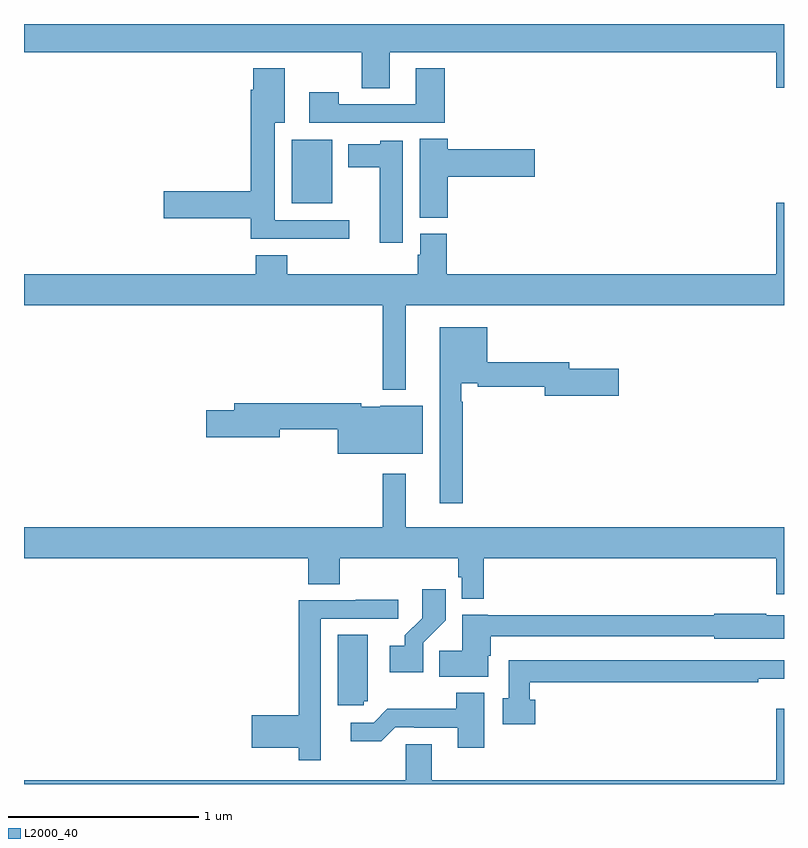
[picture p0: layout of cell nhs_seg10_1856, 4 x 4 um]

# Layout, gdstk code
import gdstk
lib = gdstk.Library(unit=1e-6, precision=1e-09)
def R(c, l, rs):  # rectangles x0, y0, x1, y1
    for r in rs: c.add(gdstk.rectangle(r[:2], r[2:], *l))
def P(c, l, *ps):  # polygons
    for p in ps: c.add(gdstk.Polygon(p, *l))
L2000_40 = (2000, 40)

nhs_seg10_1856 = lib.new_cell('nhs_seg10_1856')
R(nhs_seg10_1856, L2000_40, [(210.41,1263.557,210.622,1263.892)])
P(nhs_seg10_1856, L2000_40, [(210.925,1264.352),(212.96,1264.352),(212.96,1264.164),(213,1264.164),(213,1264.5),(209,1264.5),(209,1264.352),(210.778,1264.352),(210.778,1264.162),(210.925,1264.162)],
  [(211.214,1264.267),(211.061,1264.267),(211.061,1264.077),(210.657,1264.077),(210.657,1264.141),(210.501,1264.141),(210.501,1263.981),(211.214,1263.981)],
  [(210.712,1263.468),(210.319,1263.468),(210.319,1263.98),(210.373,1263.98),(210.373,1264.267),(210.206,1264.267),(210.206,1264.154),(210.194,1264.154),(210.194,1263.62),(209.736,1263.62),(209.736,1263.478),(210.194,1263.478),(210.194,1263.371),(210.712,1263.371)],
  [(211.229,1263.695),(211.687,1263.695),(211.687,1263.842),(211.229,1263.842),(211.229,1263.896),(211.082,1263.896),(211.082,1263.481),(211.229,1263.481)],
  [(210.994,1263.886),(210.876,1263.886),(210.876,1263.868),(210.707,1263.868),(210.707,1263.746),(210.872,1263.746),(210.872,1263.348),(210.994,1263.348)],
  [(211.009,1263.02),(213,1263.02),(213,1263.559),(212.96,1263.559),(212.96,1263.184),(211.226,1263.184),(211.226,1263.396),(211.085,1263.396),(211.085,1263.285),(211.073,1263.285),(211.073,1263.184),(210.386,1263.184),(210.386,1263.283),(210.221,1263.283),(210.221,1263.184),(209,1263.184),(209,1263.02),(210.888,1263.02),(210.888,1262.576),(211.009,1262.576)],
  [(211.309,1262.513),(211.301,1262.513),(211.301,1262.61),(211.387,1262.61),(211.387,1262.59),(211.742,1262.59),(211.742,1262.543),(212.131,1262.543),(212.131,1262.685),(211.87,1262.685),(211.87,1262.719),(211.438,1262.719),(211.438,1262.905),(211.187,1262.905),(211.187,1261.977),(211.309,1261.977)],
  [(211.099,1262.491),(210.876,1262.491),(210.876,1262.485),(210.776,1262.485),(210.776,1262.504),(210.107,1262.504),(210.107,1262.468),(209.958,1262.468),(209.958,1262.326),(210.346,1262.326),(210.346,1262.368),(210.65,1262.368),(210.65,1262.237),(211.099,1262.237)],
  [(211.421,1261.688),(212.96,1261.688),(212.96,1261.5),(213,1261.5),(213,1261.852),(211.009,1261.852),(211.009,1262.134),(210.888,1262.134),(210.888,1261.852),(209,1261.852),(209,1261.688),(210.497,1261.688),(210.497,1261.552),(210.662,1261.552),(210.662,1261.688),(211.285,1261.688),(211.285,1261.587),(211.305,1261.587),(211.305,1261.475),(211.421,1261.475)],
  [(211.101,1261.243),(211.22,1261.362),(211.22,1261.525),(211.095,1261.525),(211.095,1261.373),(211.004,1261.283),(211.004,1261.228),(210.924,1261.228),(210.924,1261.088),(211.101,1261.088)],
  [(210.562,1260.846),(210.561,1260.846),(210.561,1261.371),(210.97,1261.371),(210.97,1261.47),(210.745,1261.47),(210.745,1261.467),(210.445,1261.467),(210.445,1260.863),(210.198,1260.863),(210.198,1260.692),(210.445,1260.692),(210.445,1260.624),(210.562,1260.624)],
  [(211.444,1261.175),(211.457,1261.175),(211.457,1261.278),(212.634,1261.278),(212.634,1261.265),(213,1261.265),(213,1261.387),(212.906,1261.387),(212.906,1261.395),(212.634,1261.395),(212.634,1261.387),(211.44,1261.387),(211.44,1261.39),(211.307,1261.39),(211.307,1261.202),(211.186,1261.202),(211.186,1261.064),(211.444,1261.064)],
  [(210.789,1260.936),(210.808,1260.936),(210.808,1261.285),(210.65,1261.285),(210.65,1260.915),(210.789,1260.915)],
  [(211.691,1260.943),(211.663,1260.943),(211.663,1261.036),(212.864,1261.036),(212.864,1261.055),(213,1261.055),(213,1261.152),(211.551,1261.152),(211.551,1260.951),(211.52,1260.951),(211.52,1260.814),(211.691,1260.814)],
  [(211.423,1260.979),(211.276,1260.979),(211.276,1260.895),(210.913,1260.895),(210.84,1260.822),(210.72,1260.822),(210.72,1260.725),(210.881,1260.725),(210.954,1260.798),(211.054,1260.798),(211.054,1260.795),(211.283,1260.795),(211.283,1260.69),(211.423,1260.69)],
  [(213,1260.895),(212.96,1260.895),(212.96,1260.52),(211.147,1260.52),(211.147,1260.71),(211.008,1260.71),(211.008,1260.52),(209,1260.52),(209,1260.5),(213,1260.5)])

lib.write_gds('nhs_seg10_1856.gds')
